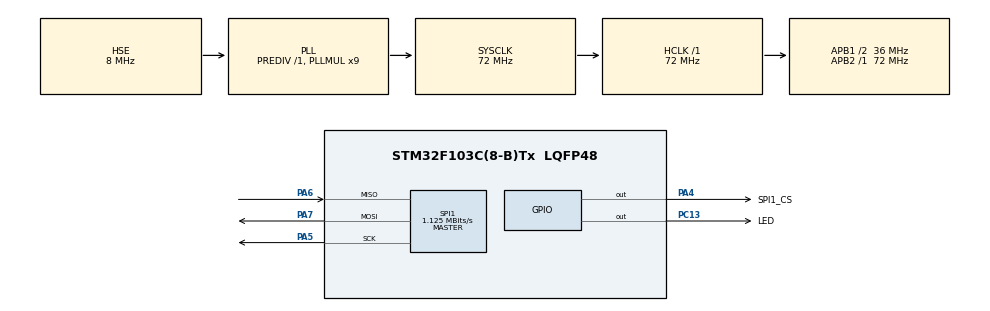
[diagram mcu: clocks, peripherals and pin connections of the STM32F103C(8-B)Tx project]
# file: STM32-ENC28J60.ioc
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Mcu.Family=STM32F1
Mcu.Name=STM32F103C(8-B)Tx
Mcu.Package=LQFP48
NVIC.PriorityGroup=NVIC_PRIORITYGROUP_4
PA13.Mode=Serial_Wire
PA13.Signal=SYS_JTMS-SWDIO
PA14.Mode=Serial_Wire
PA14.Signal=SYS_JTCK-SWCLK
PA4.GPIO_Label=SPI1_CS
PA4.Signal=GPIO_Output
PA5.Mode=Full_Duplex_Master
PA5.Signal=SPI1_SCK
PA6.Mode=Full_Duplex_Master
PA6.Signal=SPI1_MISO
PA7.Mode=Full_Duplex_Master
PA7.Signal=SPI1_MOSI
PC13-TAMPER-RTC.GPIO_Label=LED
PC13-TAMPER-RTC.Signal=GPIO_Output
PD0-OSC_IN.Mode=HSE-External-Oscillator
PD0-OSC_IN.Signal=RCC_OSC_IN
PD1-OSC_OUT.Mode=HSE-External-Oscillator
PD1-OSC_OUT.Signal=RCC_OSC_OUT
ProjectManager.HeapSize=0x200
ProjectManager.StackSize=0x400
ProjectManager.TargetToolchain=STM32CubeIDE
RCC.AHBFreq_Value=72000000
RCC.APB1CLKDivider=RCC_HCLK_DIV2
RCC.APB1Freq_Value=36000000
RCC.APB1TimFreq_Value=72000000
RCC.APB2Freq_Value=72000000
RCC.APB2TimFreq_Value=72000000
RCC.HCLKFreq_Value=72000000
RCC.PLLMUL=RCC_PLL_MUL9
RCC.PLLSourceVirtual=RCC_PLLSOURCE_HSE
RCC.SYSCLKFreq_VALUE=72000000
RCC.SYSCLKSource=RCC_SYSCLKSOURCE_PLLCLK
RCC.USBFreq_Value=72000000
SPI1.BaudRatePrescaler=SPI_BAUDRATEPRESCALER_64
SPI1.CRCCalculation=SPI_CRCCALCULATION_DISABLE
SPI1.CalculateBaudRate=1.125 MBits/s
SPI1.Direction=SPI_DIRECTION_2LINES
SPI1.Mode=SPI_MODE_MASTER
SPI1.VirtualType=VM_MASTER
board=custom

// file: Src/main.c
/* USER CODE BEGIN Header */
/**
  ******************************************************************************
  * @file           : main.c
  * @brief          : Main program body
  ******************************************************************************
  * @attention
  *
  * <h2><center>&copy; Copyright (c) 2020 STMicroelectronics.
  * All rights reserved.</center></h2>
  *
  * This software component is licensed by ST under BSD 3-Clause license,
  * the "License"; You may not use this file except in compliance with the
  * License. You may obtain a copy of the License at:
  *                        opensource.org/licenses/BSD-3-Clause
  *
  ******************************************************************************
  */
/* USER CODE END Header */

#include "main.h"

/* USER CODE BEGIN Includes */
#include "string.h"
#include "Delay.h"
#include "EtherShield.h"

/* USER CODE END Includes */

/* USER CODE BEGIN PTD */
/*
 * Programa para trabalhar com o ENC28J60 utilizando o STM32F103C8 com a placa BluePill
 * Data: 18/02/2020
 * Adaptação: Eng. Fabrício de Lima Ribeiro
 */
/* USER CODE END PTD */

/* USER CODE BEGIN PD */
#define MYWWWPORT 80
#define BUFFER_SIZE 550
/* USER CODE END PD */

SPI_HandleTypeDef hspi1;

/* USER CODE BEGIN PV */

static uint8_t mymac[6] = { 0x54, 0x55, 0x58, 0x10, 0x00, 0x25 };

/*static uint8_t myip[4] = {
 192,168,0,15};*/

static uint8_t buf[BUFFER_SIZE + 1];

uint16_t plen, dat_p;

/* For DHCP */
static uint8_t myip[4] = { 0, 0, 0, 0 };
static uint8_t mynetmask[4] = { 0, 0, 0, 0 };

// IP address of the host being queried to contact (IP of the first portion of the URL):
static uint8_t websrvip[4] = { 0, 0, 0, 0 };

// Default gateway. The ip address of your DSL router. It can be set to the same as
// websrvip the case where there is no default GW to access the
// web server (=web server is on the same lan as this host)
static uint8_t gwip[4] = { 192, 168, 0, 1 };
static uint8_t dnsip[4] = { 0, 0, 0, 0 };
static uint8_t dhcpsvrip[4] = { 0, 0, 0, 0 };

/* USER CODE END PV */

void SystemClock_Config(void);
static void MX_GPIO_Init(void);
static void MX_SPI1_Init(void);
/* USER CODE BEGIN PFP */
/* Private function prototypes */
uint16_t http200ok(void);
uint16_t print_webpage(uint8_t *buf);
uint16_t print_webpage2(uint8_t *buf);
/* USER CODE END PFP */

int main(void)
{

  /* MCU Configuration--------------------------------------------------------*/

  /* Reset of all peripherals, Initializes the Flash interface and the Systick. */
  HAL_Init();

  /* Configure the system clock */
  SystemClock_Config();

  /* Initialize all configured peripherals */
  MX_GPIO_Init();
  MX_SPI1_Init();
  /* USER CODE BEGIN 2 */

  /* SysTick end of count event each 1ms */
  //RCC_GetClocksFreq(&RCC_Clocks);
  //SysTick_Config(RCC_Clocks.SYSCLK_Frequency / 1000);

  // Initialise SPI interface
  ES_enc28j60SpiInit(&hspi1);

  // initialize enc28j60
  ES_enc28j60Init(mymac);

  // init the ethernet/ip layer:
  //ES_init_ip_arp_udp_tcp(mymac,myip, MYWWWPORT);

  if(ES_enc28j60Revision() <= 0)
  {
	// Failed to access ENC28J60
	while (1)
		;    // Just loop here
  }

  // Get IP Address details
  if (allocateIPAddress(buf, BUFFER_SIZE, mymac, 80, myip, mynetmask, gwip, dhcpsvrip, dnsip) > 0)
  {
		// Display the results:
  }
  else
  {
	// Failed to get IP address"
	while (1)
		;
  }
  /* USER CODE END 2 */

  /* Infinite loop */
  while (1)
  {

    /* USER CODE BEGIN 3 */
	// read packet, handle ping and wait for a tcp packet:
	dat_p = ES_packetloop_icmp_tcp(buf, ES_enc28j60PacketReceive(BUFFER_SIZE, buf));

	/* dat_p will be unequal to zero if there is a valid
	 * http get */
	if (dat_p == 0)
	{
		// no http request
		continue;
	}

	// tcp port 80 begin
	if (strncmp("GET ", (char *) &(buf[dat_p]), 4) != 0)
	{
		// head, post and other methods:
		dat_p = http200ok();
		dat_p = ES_fill_tcp_data(buf, dat_p, "<h1>200 OK</h1>");
		goto SENDTCP;
	}

	// Página principal
	if (strncmp("/ ", (char *) &(buf[dat_p + 4]), 2) == 0)
	{
		dat_p = print_webpage(buf);
		goto SENDTCP;
	}
	else if (strncmp("/test ", (char *) &(buf[dat_p + 4]), 2) == 0)
	{
		dat_p = print_webpage2(buf);
		goto SENDTCP;
	}
	else
	{
		dat_p = ES_fill_tcp_data(buf, 0, "HTTP/1.0 401 Unauthorized\r\nContent-Type: text/html\r\n\r\n<h1>401 Unauthorized</h1>");
		goto SENDTCP;
	}
	SENDTCP: ES_www_server_reply(buf, dat_p); // send web page data
	// tcp port 80 end
  }
  /* USER CODE END 3 */
}

void SystemClock_Config(void)
{
  RCC_OscInitTypeDef RCC_OscInitStruct = {0};
  RCC_ClkInitTypeDef RCC_ClkInitStruct = {0};

  /** Initializes the CPU, AHB and APB busses clocks
  */
  RCC_OscInitStruct.OscillatorType = RCC_OSCILLATORTYPE_HSE;
  RCC_OscInitStruct.HSEState = RCC_HSE_ON;
  RCC_OscInitStruct.HSEPredivValue = RCC_HSE_PREDIV_DIV1;
  RCC_OscInitStruct.HSIState = RCC_HSI_ON;
  RCC_OscInitStruct.PLL.PLLState = RCC_PLL_ON;
  RCC_OscInitStruct.PLL.PLLSource = RCC_PLLSOURCE_HSE;
  RCC_OscInitStruct.PLL.PLLMUL = RCC_PLL_MUL9;
  if (HAL_RCC_OscConfig(&RCC_OscInitStruct) != HAL_OK)
  {
    Error_Handler();
  }
  /** Initializes the CPU, AHB and APB busses clocks
  */
  RCC_ClkInitStruct.ClockType = RCC_CLOCKTYPE_HCLK|RCC_CLOCKTYPE_SYSCLK
                              |RCC_CLOCKTYPE_PCLK1|RCC_CLOCKTYPE_PCLK2;
  RCC_ClkInitStruct.SYSCLKSource = RCC_SYSCLKSOURCE_PLLCLK;
  RCC_ClkInitStruct.AHBCLKDivider = RCC_SYSCLK_DIV1;
  RCC_ClkInitStruct.APB1CLKDivider = RCC_HCLK_DIV2;
  RCC_ClkInitStruct.APB2CLKDivider = RCC_HCLK_DIV1;

  if (HAL_RCC_ClockConfig(&RCC_ClkInitStruct, FLASH_LATENCY_2) != HAL_OK)
  {
    Error_Handler();
  }
}

static void MX_SPI1_Init(void)
{

  /* SPI1 parameter configuration*/
  hspi1.Instance = SPI1;
  hspi1.Init.Mode = SPI_MODE_MASTER;
  hspi1.Init.Direction = SPI_DIRECTION_2LINES;
  hspi1.Init.DataSize = SPI_DATASIZE_8BIT;
  hspi1.Init.CLKPolarity = SPI_POLARITY_LOW;
  hspi1.Init.CLKPhase = SPI_PHASE_1EDGE;
  hspi1.Init.NSS = SPI_NSS_SOFT;
  hspi1.Init.BaudRatePrescaler = SPI_BAUDRATEPRESCALER_64;
  hspi1.Init.FirstBit = SPI_FIRSTBIT_MSB;
  hspi1.Init.TIMode = SPI_TIMODE_DISABLE;
  hspi1.Init.CRCCalculation = SPI_CRCCALCULATION_DISABLE;
  hspi1.Init.CRCPolynomial = 10;
  if (HAL_SPI_Init(&hspi1) != HAL_OK)
  {
    Error_Handler();
  }

}

static void MX_GPIO_Init(void)
{
  GPIO_InitTypeDef GPIO_InitStruct = {0};

  /* GPIO Ports Clock Enable */
  __HAL_RCC_GPIOC_CLK_ENABLE();
  __HAL_RCC_GPIOD_CLK_ENABLE();
  __HAL_RCC_GPIOA_CLK_ENABLE();

  /*Configure GPIO pin Output Level */
  HAL_GPIO_WritePin(LED_GPIO_Port, LED_Pin, GPIO_PIN_RESET);

  /*Configure GPIO pin Output Level */
  HAL_GPIO_WritePin(SPI1_CS_GPIO_Port, SPI1_CS_Pin, GPIO_PIN_RESET);

  /*Configure GPIO pin : LED_Pin */
  GPIO_InitStruct.Pin = LED_Pin;
  GPIO_InitStruct.Mode = GPIO_MODE_OUTPUT_PP;
  GPIO_InitStruct.Pull = GPIO_NOPULL;
  GPIO_InitStruct.Speed = GPIO_SPEED_FREQ_LOW;
  HAL_GPIO_Init(LED_GPIO_Port, &GPIO_InitStruct);

  /*Configure GPIO pin : SPI1_CS_Pin */
  GPIO_InitStruct.Pin = SPI1_CS_Pin;
  GPIO_InitStruct.Mode = GPIO_MODE_OUTPUT_PP;
  GPIO_InitStruct.Pull = GPIO_NOPULL;
  GPIO_InitStruct.Speed = GPIO_SPEED_FREQ_LOW;
  HAL_GPIO_Init(SPI1_CS_GPIO_Port, &GPIO_InitStruct);

}

/* USER CODE BEGIN 4 */
uint16_t http200ok(void)
{
	return (ES_fill_tcp_data(buf, 0, "HTTP/1.0 200 OK\r\nContent-Type: text/html\r\nPragma: no-cache\r\n\r\n"));
}

// prepare the webpage by writing the data to the tcp send buffer
uint16_t print_webpage(uint8_t *buf)
{
	uint16_t plen;

	plen = http200ok();
	plen = ES_fill_tcp_data(buf, plen, "<html><head><title>STM32F1 ENC28J60 Ethernet Demo</title></head><body>");
	plen = ES_fill_tcp_data(buf, plen, "<center><h1>Welcome to STM32F1 ENC28J60 Ethernet Demo</h1>");
	plen = ES_fill_tcp_data(buf, plen, "<br> Control digital outputs (not implemented yet)");
	plen = ES_fill_tcp_data(buf, plen, "<br> Read digital analog inputs (not implemented yet)");
	plen = ES_fill_tcp_data(buf, plen, "<br></font></h2>");
	plen = ES_fill_tcp_data(buf, plen, "</center><hr>");
	plen = ES_fill_tcp_data(buf, plen, "</body></html>");

	return (plen);
}

// prepare the webpage by writing the data to the tcp send buffer
uint16_t print_webpage2(uint8_t *buf)
{
	uint16_t plen;

	plen = http200ok();
	plen = ES_fill_tcp_data(buf, plen, "<html><head><title>Test page</title></head><body>");
	plen = ES_fill_tcp_data(buf, plen, "<center><h1>Second page</h1>");
	plen = ES_fill_tcp_data(buf, plen, "<br>Hello World");
	plen = ES_fill_tcp_data(buf, plen, "<br></font></h2>");
	plen = ES_fill_tcp_data(buf, plen, "</center><hr>");
	plen = ES_fill_tcp_data(buf, plen, "</body></html>");

	return (plen);
}

void ES_PingCallback(void)
{
	//STM_EVAL_LEDToggle(LED4);
}
/* USER CODE END 4 */

void Error_Handler(void)
{
}

/************************ (C) COPYRIGHT STMicroelectronics *****END OF FILE****/
